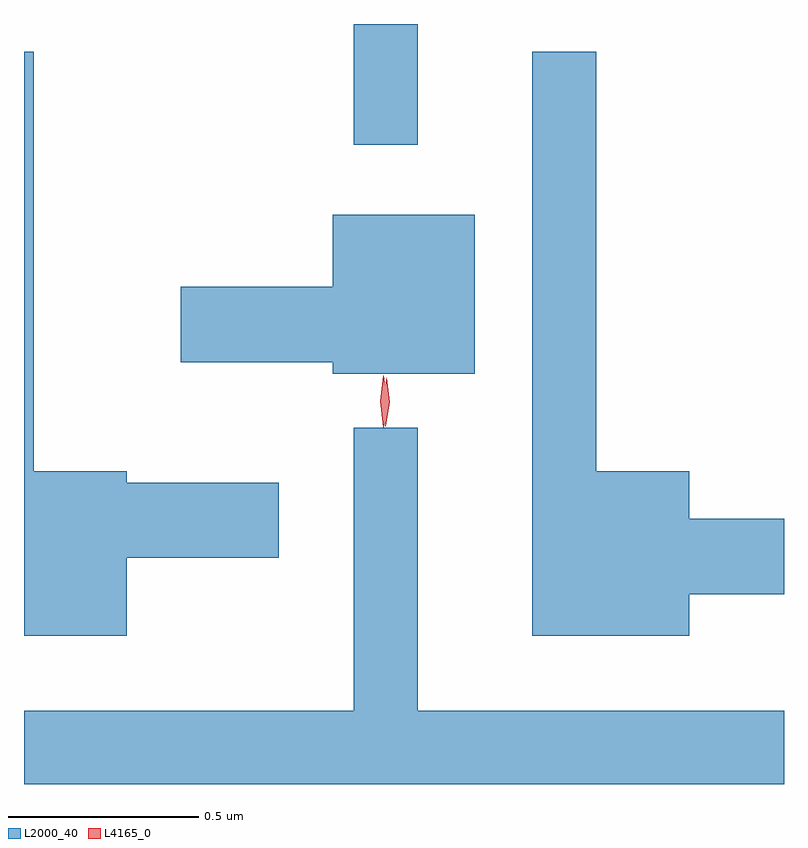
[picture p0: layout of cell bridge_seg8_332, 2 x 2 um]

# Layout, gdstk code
import gdstk
lib = gdstk.Library(unit=1e-6, precision=1e-09)
def R(c, l, rs):  # rectangles x0, y0, x1, y1
    for r in rs: c.add(gdstk.rectangle(r[:2], r[2:], *l))
def P(c, l, *ps):  # polygons
    for p in ps: c.add(gdstk.Polygon(p, *l))
L2000_40 = (2000, 40)
L4165_0 = (4165, 0)

bridge_seg8_332 = lib.new_cell('bridge_seg8_332')
R(bridge_seg8_332, L2000_40, [(1008.261,1911.433,1008.429,1911.751)])
P(bridge_seg8_332, L2000_40, [(1007.664,1910.346),(1008.064,1910.346),(1008.064,1910.544),(1007.664,1910.544),(1007.664,1910.574),(1007.419,1910.574),(1007.419,1911.678),(1007.393,1911.678),(1007.393,1910.141),(1007.664,1910.141)],
  [(1009.144,1910.251),(1009.393,1910.251),(1009.393,1910.449),(1009.144,1910.449),(1009.144,1910.574),(1008.899,1910.574),(1008.899,1911.678),(1008.731,1911.678),(1008.731,1910.141),(1009.144,1910.141)],
  [(1008.579,1911.249),(1008.206,1911.249),(1008.206,1911.059),(1007.806,1911.059),(1007.806,1910.861),(1008.206,1910.861),(1008.206,1910.831),(1008.579,1910.831)],
  [(1009.393,1909.944),(1008.429,1909.944),(1008.429,1910.688),(1008.261,1910.688),(1008.261,1909.944),(1007.393,1909.944),(1007.393,1909.751),(1009.393,1909.751)])
P(bridge_seg8_332, L4165_0, [(1008.34,1910.689),(1008.339,1910.69),(1008.33,1910.758),(1008.339,1910.826),(1008.339,1910.826),(1008.34,1910.826),(1008.349,1910.758),(1008.34,1910.69)],
  [(1008.344,1910.693),(1008.336,1910.757),(1008.347,1910.82),(1008.347,1910.82),(1008.348,1910.82),(1008.356,1910.756),(1008.345,1910.693),(1008.345,1910.693)])

lib.write_gds('bridge_seg8_332.gds')
